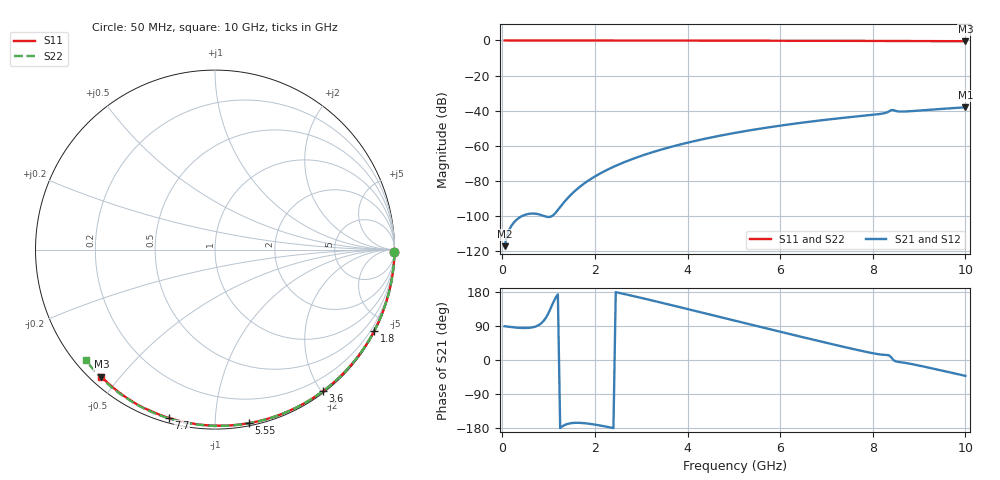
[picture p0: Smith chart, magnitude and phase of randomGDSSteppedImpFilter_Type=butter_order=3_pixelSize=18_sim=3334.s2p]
! freq	dB(S11)	phase(S11)	dB(S12)	phase(S12)
!  dB(S21)	phase(S21)	dB(S22)	phase(S22)
!S-par simulation data
#  GHz  S  DB  R 50
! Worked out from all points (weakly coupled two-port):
!   200 points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, 50 MHz to 10 GHz, reference 50 ohm
!   highest |S21| = -38.08 dB at 10 GHz (marker M1); lowest = -117.3 dB at 50 MHz (marker M2)
!   lowest |S11| = -0.4 dB at 10 GHz (marker M3), VSWR 39.18, Z = 1.53 - j22.4 ohm
!   |S11| at or under -10 dB: nowhere
!   |S22| runs from -0.5 to 0.0 dB; largest |S21 - S12| = 0
!   S11 on the Smith chart (normalised r, x): 50 MHz: open; 1.8 GHz: 0.04, -4.17; 3.6 GHz: 0.02, -2.02; 5.55 GHz: 0.02, -1.22; 7.7 GHz: 0.02, -0.76; 10 GHz: 0.03, -0.45
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0.05  -0.00 -0.8  -117.26 89.2  -117.26 89.2  -0.00 -0.8
0.9  -0.02 -13.6  -100.04 104.2  -100.04 104.2  -0.02 -14.5
1.75  -0.03 -26.3  -81.89 -166.5  -81.89 -166.5  -0.04 -27.9
1.8  -0.03 -27.0  -80.93 -167.1  -80.93 -167.1  -0.04 -28.6
1.85  -0.04 -27.7  -80.03 -167.8  -80.03 -167.8  -0.04 -29.4
2.15  -0.04 -32.1  -75.30 -173.7  -75.30 -173.7  -0.04 -34.1
2.55  -0.05 -37.9  -70.29 176.4  -70.29 176.4  -0.05 -40.2
2.95  -0.06 -43.6  -66.25 165.3  -66.25 165.3  -0.06 -46.3
3.4  -0.07 -50.0  -62.45 152.3  -62.45 152.3  -0.07 -53.0
3.6  -0.07 -52.8  -60.96 146.4  -60.96 146.4  -0.08 -55.9
4.3  -0.09 -62.4  -56.47 125.5  -56.47 125.5  -0.09 -66.1
5.05  -0.11 -72.4  -52.56 103.0  -52.56 103.0  -0.12 -76.6
5.55  -0.13 -78.8  -50.35 88.0  -50.35 88.0  -0.14 -83.4
6.7  -0.18 -93.3  -46.11 54.0  -46.11 54.0  -0.19 -98.6
7.7  -0.24 -105.3  -43.16 25.6  -43.16 25.6  -0.26 -111.3
8.2  -0.28 -111.1  -41.72 14.1  -41.72 14.1  -0.29 -117.6
8.3  -0.29 -112.3  -41.09 13.2  -41.09 13.2  -0.31 -118.8
8.35  -0.30 -112.8  -40.44 12.1  -40.44 12.1  -0.32 -119.4
8.4  -0.29 -113.4  -39.67 7.0  -39.67 7.0  -0.33 -120.0
8.55  -0.29 -115.2  -40.45 -4.9  -40.45 -4.9  -0.33 -121.8
8.7  -0.31 -117.0  -40.48 -7.6  -40.48 -7.6  -0.34 -123.7
10  -0.44 -131.8  -38.08 -41.9  -38.08 -41.9  -0.47 -139.5
